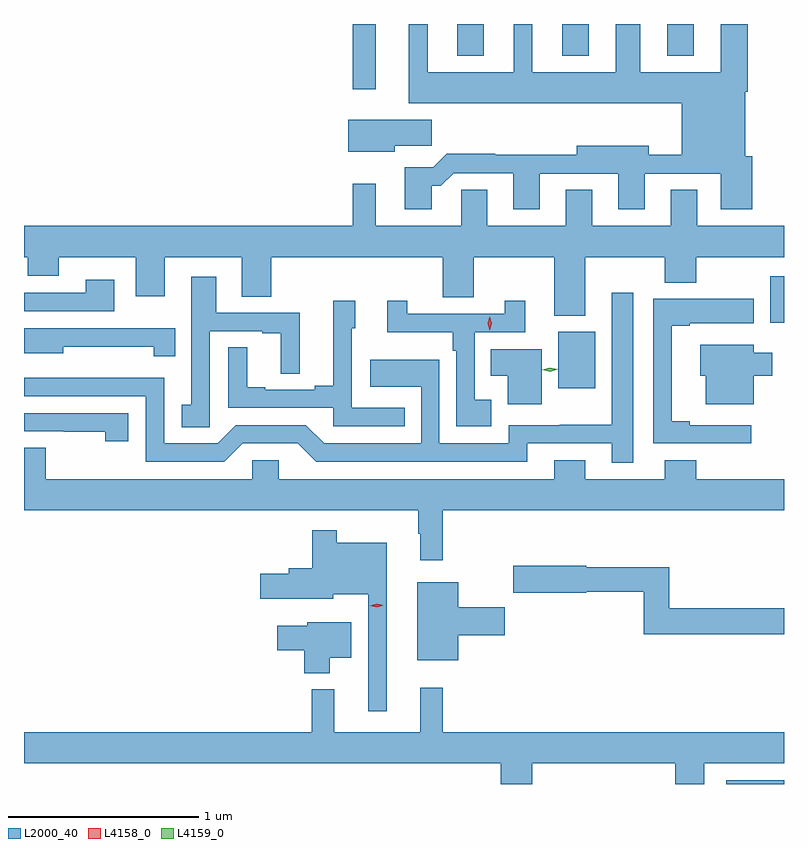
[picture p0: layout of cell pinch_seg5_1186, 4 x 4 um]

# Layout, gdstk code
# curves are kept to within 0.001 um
import gdstk
lib = gdstk.Library(unit=1e-6, precision=1e-09)
def R(c, l, rs):  # rectangles x0, y0, x1, y1
    for r in rs: c.add(gdstk.rectangle(r[:2], r[2:], *l))
def A(c, l, x, y, w, h, nx, ny, dx, dy):  # array of equal rectangles
    R(c, l, [(x+i*dx, y+j*dy, x+i*dx+w, y+j*dy+h) for i in range(nx) for j in range(ny)])
def P(c, l, *ps):  # polygons
    for p in ps: c.add(gdstk.Polygon(p, *l))
L2000_40 = (2000, 40)
L4158_0 = (4158, 0)
L4159_0 = (4159, 0)

pinch_seg5_1186 = lib.new_cell('pinch_seg5_1186')
A(pinch_seg5_1186, L2000_40, 435.437, 892.451, 0.14, 0.168, 3, 1, 0.552, 0)
R(pinch_seg5_1186, L2000_40, [(436.851,888.619,437.156,888.639), (435.968,890.702,436.162,890.998), (437.084,891.047,437.156,891.292), (434.886,892.275,435.007,892.619)])
P(pinch_seg5_1186, L2000_40, [(435.301,891.767),(435.35,891.767),(435.417,891.834),(435.731,891.834),(435.731,891.645),(435.871,891.645),(435.871,891.831),(436.283,891.831),(436.283,891.645),(436.423,891.645),(436.423,891.831),(436.823,891.831),(436.823,891.645),(436.988,891.645),(436.988,891.924),(436.951,891.924),(436.951,892.262),(436.964,892.262),(436.964,892.618),(436.823,892.618),(436.823,892.366),(436.399,892.366),(436.399,892.618),(436.271,892.618),(436.271,892.366),(435.832,892.366),(435.832,892.618),(435.734,892.618),(435.734,892.366),(435.28,892.366),(435.28,892.618),(435.182,892.618),(435.182,892.202),(436.619,892.202),(436.619,891.932),(436.444,891.932),(436.444,891.979),(436.064,891.979),(436.064,891.932),(435.635,891.932),(435.635,891.935),(435.38,891.935),(435.31,891.865),(435.161,891.865),(435.161,891.645),(435.301,891.645)],
  [(435.106,891.979),(435.301,891.979),(435.301,892.114),(434.862,892.114),(434.862,891.947),(435.106,891.947)],
  [(436.111,891.392),(436.529,891.392),(436.529,891.257),(436.693,891.257),(436.693,891.392),(437.156,891.392),(437.156,891.556),(436.699,891.556),(436.699,891.746),(436.559,891.746),(436.559,891.556),(436.147,891.556),(436.147,891.746),(436.007,891.746),(436.007,891.556),(435.595,891.556),(435.595,891.746),(435.456,891.746),(435.456,891.556),(435.007,891.556),(435.007,891.778),(434.886,891.778),(434.886,891.556),(433.156,891.556),(433.156,891.392),(433.175,891.392),(433.175,891.293),(433.339,891.293),(433.339,891.392),(433.745,891.392),(433.745,891.186),(433.897,891.186),(433.897,891.392),(434.303,891.392),(434.303,891.184),(434.456,891.184),(434.456,891.392),(435.359,891.392),(435.359,891.18),(435.523,891.18),(435.523,891.392),(435.947,891.392),(435.947,891.083),(436.111,891.083)],
  [(434.133,891.003),(434.411,891.003),(434.411,890.991),(434.507,890.991),(434.507,890.779),(434.606,890.779),(434.606,891.099),(434.167,891.099),(434.167,891.289),(434.037,891.289),(434.037,890.616),(433.986,890.616),(433.986,890.497),(434.133,890.497)],
  [(433.63,891.274),(433.481,891.274),(433.481,891.204),(433.156,891.204),(433.156,891.108),(433.63,891.108)],
  [(436.363,891.205),(436.25,891.205),(436.25,890.51),(435.976,890.51),(435.976,890.508),(435.708,890.508),(435.708,890.412),(435.342,890.412),(435.342,890.851),(434.979,890.851),(434.979,890.711),(435.246,890.711),(435.246,890.412),(434.736,890.412),(434.64,890.508),(434.271,890.508),(434.175,890.412),(433.893,890.412),(433.893,890.758),(433.156,890.757),(433.156,890.661),(433.797,890.661),(433.797,890.316),(434.211,890.316),(434.307,890.412),(434.598,890.412),(434.694,890.316),(435.805,890.316),(435.805,890.412),(436.25,890.412),(436.25,890.309),(436.363,890.309)],
  [(436.984,890.508),(436.66,890.508),(436.66,890.528),(436.564,890.528),(436.564,891.032),(436.66,891.032),(436.66,891.044),(436.996,891.044),(436.996,891.172),(436.467,891.172),(436.467,890.412),(436.984,890.412)],
  [(435.161,890.598),(434.88,890.598),(434.88,891.018),(434.899,891.018),(434.899,891.163),(434.783,891.163),(434.783,890.714),(434.687,890.714),(434.687,890.694),(434.425,890.694),(434.425,890.707),(434.33,890.707),(434.33,890.918),(434.232,890.918),(434.232,890.598),(434.784,890.598),(434.784,890.502),(435.161,890.502)],
  [(435.616,890.641),(435.528,890.641),(435.528,890.997),(435.793,890.997),(435.793,891.163),(435.687,891.163),(435.687,891.093),(435.174,891.093),(435.174,891.163),(435.069,891.163),(435.069,890.996),(435.412,890.996),(435.412,890.9),(435.432,890.9),(435.432,890.501),(435.616,890.501)],
  [(433.952,891.019),(433.717,891.019),(433.717,891.018),(433.156,891.018),(433.156,890.885),(433.363,890.885),(433.363,890.921),(433.838,890.921),(433.838,890.871),(433.952,890.871)],
  [(436.996,890.768),(437.095,890.768),(437.095,890.89),(436.996,890.89),(436.996,890.932),(436.715,890.932),(436.715,890.768),(436.745,890.768),(436.745,890.618),(436.996,890.618)],
  [(435.88,890.908),(435.613,890.908),(435.613,890.768),(435.701,890.768),(435.701,890.618),(435.88,890.618)],
  [(433.705,890.571),(433.156,890.571),(433.156,890.475),(433.366,890.475),(433.366,890.473),(433.584,890.473),(433.584,890.424),(433.705,890.424)],
  [(435.359,890.06),(437.156,890.06),(437.156,890.224),(436.693,890.224),(436.693,890.323),(436.529,890.323),(436.529,890.224),(436.111,890.224),(436.111,890.323),(435.947,890.323),(435.947,890.224),(434.497,890.224),(434.497,890.322),(434.358,890.322),(434.358,890.224),(433.27,890.224),(433.27,890.39),(433.156,890.39),(433.156,890.06),(435.231,890.06),(435.231,889.937),(435.242,889.937),(435.242,889.797),(435.359,889.797)],
  [(435.064,889.888),(434.803,889.888),(434.803,889.954),(434.674,889.954),(434.674,889.755),(434.549,889.755),(434.549,889.725),(434.4,889.725),(434.4,889.595),(434.784,889.595),(434.784,889.619),(434.967,889.619),(434.967,889.002),(435.064,889.002)],
  [(437.156,889.544),(436.553,889.544),(436.553,889.759),(436.116,889.759),(436.116,889.767),(435.732,889.767),(435.732,889.625),(436.116,889.625),(436.116,889.63),(436.417,889.63),(436.417,889.408),(437.156,889.408)],
  [(435.442,889.403),(435.685,889.403),(435.685,889.55),(435.442,889.55),(435.442,889.681),(435.227,889.681),(435.227,889.271),(435.442,889.271)],
  [(434.764,889.283),(434.878,889.283),(434.878,889.471),(434.646,889.471),(434.646,889.453),(434.49,889.453),(434.49,889.324),(434.63,889.324),(434.63,889.202),(434.764,889.202)],
  [(435.83,888.728),(436.583,888.728),(436.583,888.619),(436.735,888.619),(436.735,888.728),(437.156,888.728),(437.156,888.892),(435.359,888.892),(435.359,889.126),(435.242,889.126),(435.242,888.892),(434.789,888.892),(434.789,889.117),(434.671,889.117),(434.671,888.892),(433.156,888.892),(433.156,888.728),(435.665,888.728),(435.665,888.619),(435.83,888.619)])
P(pinch_seg5_1186, L4158_0, [(435.608,891.007),(435.608,891.007),(435.598,891.043),(435.607,891.079),(435.607,891.079),(435.607,891.079),(435.618,891.043),(435.608,891.007)],
  [(435.014,889.549),(434.977,889.556),(434.977,889.556),(434.977,889.556),(435.012,889.569),(435.048,889.561),(435.048,889.561),(435.048,889.561)])
P(pinch_seg5_1186, L4159_0, [(435.925,890.79),(435.883,890.799),(435.883,890.799),(435.883,890.799),(435.924,890.81),(435.965,890.802),(435.965,890.802),(435.965,890.802)])

lib.write_gds('pinch_seg5_1186.gds')
